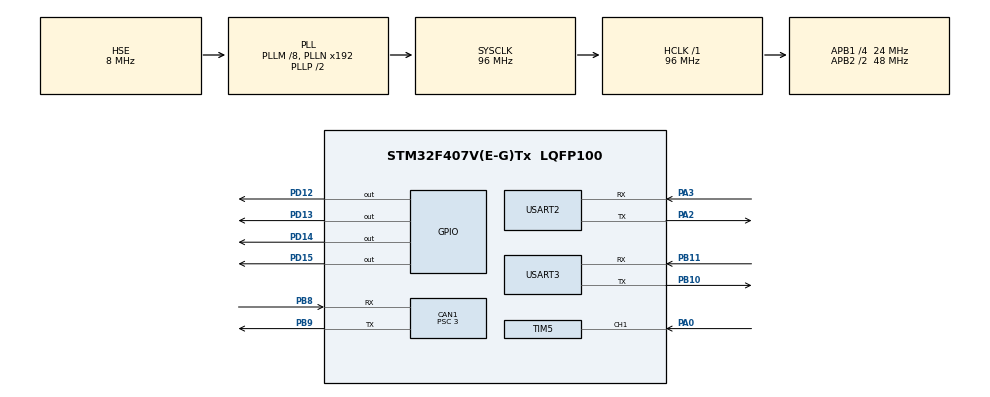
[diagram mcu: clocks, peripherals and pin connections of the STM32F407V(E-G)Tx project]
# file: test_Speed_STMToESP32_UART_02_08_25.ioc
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CAN1.BS1=CAN_BS1_13TQ
CAN1.BS2=CAN_BS2_2TQ
CAN1.CalculateBaudRate=500000
CAN1.CalculateTimeBit=2000
CAN1.CalculateTimeQuantum=125.0
CAN1.Prescaler=3
Mcu.Family=STM32F4
Mcu.Name=STM32F407V(E-G)Tx
Mcu.Package=LQFP100
NVIC.CAN1_RX0_IRQn=true\:0\:0\:false\:false\:true\:true\:true\:true
NVIC.CAN1_SCE_IRQn=true\:0\:0\:false\:false\:true\:true\:true\:true
NVIC.CAN1_TX_IRQn=true\:0\:0\:false\:false\:true\:true\:true\:true
NVIC.PriorityGroup=NVIC_PRIORITYGROUP_4
NVIC.TIM5_IRQn=true\:0\:0\:false\:false\:true\:true\:true\:true
PA0-WKUP.Signal=S_TIM5_CH1
PA2.Mode=Asynchronous
PA2.Signal=USART2_TX
PA3.Mode=Asynchronous
PA3.Signal=USART2_RX
PB10.Mode=Asynchronous
PB10.Signal=USART3_TX
PB11.Mode=Asynchronous
PB11.Signal=USART3_RX
PB8.Mode=CAN_Activate
PB8.Signal=CAN1_RX
PB9.Mode=CAN_Activate
PB9.Signal=CAN1_TX
PD12.Signal=GPIO_Output
PD13.Signal=GPIO_Output
PD14.Signal=GPIO_Output
PD15.Signal=GPIO_Output
PH0-OSC_IN.Mode=HSE-External-Oscillator
PH0-OSC_IN.Signal=RCC_OSC_IN
PH1-OSC_OUT.Mode=HSE-External-Oscillator
PH1-OSC_OUT.Signal=RCC_OSC_OUT
ProjectManager.HeapSize=0x200
ProjectManager.StackSize=0x400
ProjectManager.TargetToolchain=STM32CubeIDE
RCC.48MHZClocksFreq_Value=48000000
RCC.AHBFreq_Value=96000000
RCC.APB1CLKDivider=RCC_HCLK_DIV4
RCC.APB1Freq_Value=24000000
RCC.APB1TimFreq_Value=48000000
RCC.APB2CLKDivider=RCC_HCLK_DIV2
RCC.APB2Freq_Value=48000000
RCC.APB2TimFreq_Value=96000000
RCC.CortexFreq_Value=96000000
RCC.HCLKFreq_Value=96000000
RCC.HSE_VALUE=8000000
RCC.HSI_VALUE=16000000
RCC.LSE_VALUE=32768
RCC.PLLM=8
RCC.PLLSourceVirtual=RCC_PLLSOURCE_HSE
RCC.SYSCLKFreq_VALUE=96000000
RCC.SYSCLKSource=RCC_SYSCLKSOURCE_PLLCLK
RCC.VCOOutputFreq_Value=192000000
SH.S_TIM5_CH1.0=TIM5_CH1,Input_Capture1_from_TI1
TIM5.Channel-Input_Capture1_from_TI1=TIM_CHANNEL_1
TIM5.Period=65535
TIM5.Prescaler=9599
USART2.VirtualMode=VM_ASYNC
USART3.VirtualMode=VM_ASYNC
VP_TIM5_VS_ClockSourceINT.Mode=Internal
board=custom

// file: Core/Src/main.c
/* USER CODE BEGIN Header */
/**
  ******************************************************************************
  * @file           : main.c
  * @brief          : Main program body
  ******************************************************************************
  * @attention
  *
  * Copyright (c) 2025 STMicroelectronics.
  * All rights reserved.
  *
  * This software is licensed under terms that can be found in the LICENSE file
  * in the root directory of this software component.
  * If no LICENSE file comes with this software, it is provided AS-IS.
  *
  ******************************************************************************
  */
/* USER CODE END Header */
#include "main.h"

/* USER CODE BEGIN Includes */
#include "string.h" // For strlen
#include "stdio.h"  // For sprintf
/* USER CODE END Includes */

CAN_HandleTypeDef hcan1;

TIM_HandleTypeDef htim5; // NEW: Timer handle for the optical sensor

UART_HandleTypeDef huart2; // For PC Putty
UART_HandleTypeDef huart3; // For ESP32

/* USER CODE BEGIN PV */
// UART message for status
char *uart_startup_msg = "STM32F407: CAN Receiver & UART Bridge to ESP32 (Multi-Sensor)...\r\n";
char uart_buffer[120]; // General purpose buffer for UART prints (for Putty)
char esp32_data_buffer[150]; // Buffer for data sent to ESP32 (expanded for new data)

// CAN message variables for reception
CAN_RxHeaderTypeDef RxHeader;
uint8_t RxData[8]; // Buffer for received data

// Global flags for status/errors (optional, for main loop interaction)
volatile uint8_t can_rx_flag = 0;
volatile uint32_t can_error_flags = 0;

// Variables to store received sensor data
float received_temperature = 0.0f;
float received_humidity = 0.0f;
uint8_t received_ir_state = 0; // 0: No obstacle, 1: Obstacle
uint16_t received_sound_value = 0; // 0-1023 analog value
uint8_t received_sequence_num = 0;

// Thresholds for alerts (same as before)
#define TEMP_ALERT_THRESHOLD 30.0f
#define SOUND_ALERT_THRESHOLD 520
#define IR_OBSTACLE_DETECTED 1

// --- NEW VARIABLES FOR OPTICAL SENSOR ---
// Speed, Acceleration, RPM and Idling time
volatile float current_speed_kmh = 0.0f;
volatile float previous_speed_kmh = 0.0f;
volatile float acceleration_mps2 = 0.0f;
volatile uint32_t current_rpm = 0;
volatile uint32_t idling_timer_ms = 0;
volatile uint32_t last_pulse_time_ms = 0;
volatile uint32_t last_speed_update_time = 0;

// Constants for calculations
#define PULSES_PER_REVOLUTION 20 // Assumed pulses per revolution for the H2010 sensor
#define WHEEL_DIAMETER_CM 6.5f   // Assumed wheel diameter in cm
#define SECONDS_PER_IDLE_CHECK 10.0f // Check for idling every 10 seconds

// Input capture variables
volatile uint32_t ic_val1 = 0;
volatile uint32_t ic_val2 = 0;
volatile uint32_t difference = 0;
volatile uint8_t is_first_captured = 0;

/* USER CODE END PV */

void SystemClock_Config(void);
static void MX_GPIO_Init(void);
static void MX_CAN1_Init(void);
static void MX_TIM5_Init(void); // NEW: Timer Init
static void MX_USART2_UART_Init(void);
static void MX_USART3_UART_Init(void);

/* USER CODE BEGIN 0 */
// Function to send string over UART (for PC Putty - USART2)
void UART_Transmit_String(UART_HandleTypeDef *huart, char *str)
{
    HAL_UART_Transmit(huart, (uint8_t *)str, strlen(str), HAL_MAX_DELAY);
}

// Function to send string over UART to ESP32 (USART3)
void UART_Transmit_To_ESP32(char *str)
{
    HAL_UART_Transmit(&huart3, (uint8_t *)str, strlen(str), HAL_MAX_DELAY);
}

// Function to toggle an LED
void Toggle_LED(GPIO_TypeDef* GPIOx, uint16_t GPIO_Pin)
{
    HAL_GPIO_TogglePin(GPIOx, GPIO_Pin);
}

// Function to print raw CAN data to UART (for debugging)
void PrintRawCanData(uint8_t *data, uint8_t len)
{
    char temp_str[10];
    UART_Transmit_String(&huart2, "Raw Data: ");
    for (int i = 0; i < len; i++)
    {
        sprintf(temp_str, "0x%02X ", data[i]);
        UART_Transmit_String(&huart2, temp_str);
    }
    UART_Transmit_String(&huart2, "\r\n");
}

// --- NEW: Timer Input Capture Callback ---
/**
  * @brief  Input Capture callback.
  * @param  htim pointer to a TIM_HandleTypeDef structure.
  * @retval None
  */
void HAL_TIM_IC_CaptureCallback(TIM_HandleTypeDef *htim)
{
    if (htim->Channel == HAL_TIM_ACTIVE_CHANNEL_1)
    {
        if (is_first_captured == 0)
        {
            ic_val1 = HAL_TIM_ReadCapturedValue(htim, TIM_CHANNEL_1);
            is_first_captured = 1;
        }
        else if (is_first_captured == 1)
        {
            ic_val2 = HAL_TIM_ReadCapturedValue(htim, TIM_CHANNEL_1);

            // Calculate the time difference (in timer ticks)
            if (ic_val2 > ic_val1)
            {
                difference = ic_val2 - ic_val1;
            }
            else
            {
                difference = (0xFFFFFFFF - ic_val1) + ic_val2;
            }

            // Frequency (Hz) = Timer Clock / (Prescaler+1) / Difference
            // In our case, Timer Clock / (Prescaler+1) = 96MHz / (9599+1) = 10kHz
            // so 1 tick = 0.1ms
            float pulse_interval_ms = (float)difference / 10.0f;

            // Update RPM if the interval is not too long (i.e., not stopped)
            if (pulse_interval_ms < 500.0f) // A reasonable threshold to avoid false readings
            {
                current_rpm = (uint32_t)(60000.0f / (PULSES_PER_REVOLUTION * pulse_interval_ms));
            }
            else
            {
                current_rpm = 0;
            }

            // Calculate speed in km/h from RPM
            // Circumference (m) = pi * diameter (m)
            // Speed (m/s) = RPM * Circumference (m) / 60
            // Speed (km/h) = Speed (m/s) * 3.6
            float wheel_circumference_m = (float)3.14159f * (WHEEL_DIAMETER_CM / 100.0f);
            current_speed_kmh = ((float)current_rpm * wheel_circumference_m / 60.0f) * 3.6f;

            // Reset for next capture
            is_first_captured = 0;
            ic_val1 = 0;
            ic_val2 = 0;
        }
    }
}

// ====================================================================
// CAN Interrupt Callback Implementations
// ====================================================================

/**
  * @brief  Rx FIFO 0 Message Pending callback.
  * @param  hcan pointer to a CAN_HandleTypeDef structure that contains
  * the configuration information for the specified CAN.
  * @retval None
  */
void HAL_CAN_RxFifo0MsgPendingCallback(CAN_HandleTypeDef *hcan)
{
    if (hcan->Instance == CAN1)
    {
        if (HAL_CAN_GetRxMessage(hcan, CAN_RX_FIFO0, &RxHeader, RxData) == HAL_OK)
        {
            // Process the received message
            sprintf(uart_buffer, "CAN Rx Int! ID: 0x%lX, DLC: %lu. ", RxHeader.StdId, RxHeader.DLC);
            UART_Transmit_String(&huart2, uart_buffer);
            PrintRawCanData(RxData, RxHeader.DLC); // Print raw data for debugging to Putty

            // --- Multi-Sensor Data Parsing ---
            if (RxHeader.StdId == 0x457 && RxHeader.DLC >= 7)
            {
                // DHT11 Data
                received_temperature = (float)RxData[0] + (float)RxData[1] / 10.0f;
                received_humidity = (float)RxData[2] + (float)RxData[3] / 10.0f;

                // IR Sensor State
                received_ir_state = RxData[4]; // 0 or 1

                // Sound Sensor Value (reconstruct 10-bit analog value)
                received_sound_value = ((uint16_t)RxData[6] << 8) | RxData[5];

                // Sequence Number
                if (RxHeader.DLC >= 8) {
                    received_sequence_num = RxData[7];
                }

                // Print all received sensor data to Putty
                sprintf(uart_buffer, "DHT11: T=%.1f C, H=%.1f %%. IR: %s. Sound: %u. (Seq: %u)\r\n",
                        received_temperature, received_humidity,
                        (received_ir_state == IR_OBSTACLE_DETECTED ? "OBSTACLE" : "CLEAR"),
                        received_sound_value,
                        received_sequence_num);
                UART_Transmit_String(&huart2, uart_buffer);

                // --- ALERT CHECKS (for Putty) ---
                if (received_ir_state == IR_OBSTACLE_DETECTED) {
                    UART_Transmit_String(&huart2, "--> ALERT! Obstacle ahead. Be cautious! Potential crash detected!\r\n");
                }
                if (received_sound_value > SOUND_ALERT_THRESHOLD) {
                    UART_Transmit_String(&huart2, "--> ALERT! Crash detected!!!\r\n");
                }
                if (received_temperature > TEMP_ALERT_THRESHOLD) {
                    UART_Transmit_String(&huart2, "--> ALERT! High temperature detected! FIRE\r\n");
                }
                // --- END ALERT CHECKS ---

                // --- NEW: CALCULATE ACCELERATION/BRAKING AND IDLING ---
                // Calculate time difference since last speed update
                uint32_t current_time_ms = HAL_GetTick();
                if (current_time_ms - last_speed_update_time >= 500) // Update every 500ms
                {
                    // Calculate Acceleration
                    float time_diff_s = (float)(current_time_ms - last_speed_update_time) / 1000.0f;
                    float current_speed_mps = current_speed_kmh / 3.6f;
                    float previous_speed_mps = previous_speed_kmh / 3.6f;
                    acceleration_mps2 = (current_speed_mps - previous_speed_mps) / time_diff_s;
                    previous_speed_kmh = current_speed_kmh;
                    last_speed_update_time = current_time_ms;
                }

                // Check for idling (car is stopped)
                if (current_rpm == 0)
                {
                    idling_timer_ms += (current_time_ms - last_pulse_time_ms);
                }
                else
                {
                    idling_timer_ms = 0;
                    last_pulse_time_ms = current_time_ms;
                }

                // --- NEW: SEND ALL DATA TO ESP32 ---
                // Format: T:XX.X,H:YY.Y,IR:Z,S:AAAA,Seq:BBB,Speed:SS.S,Acc:A.A,RPM:RRRR,Idle:IIII\n
                // Corrected format specifier for RPM and Idle time (which are uint32_t / unsigned long)
                sprintf(esp32_data_buffer, "T:%.1f,H:%.1f,IR:%u,S:%u,Seq:%u,Speed:%.1f,Acc:%.1f,RPM:%lu,Idle:%lu\n",
                        received_temperature, received_humidity,
                        received_ir_state, received_sound_value,
                        received_sequence_num,
                        current_speed_kmh,
                        acceleration_mps2,
                        current_rpm,
                        idling_timer_ms / 1000); // Convert milliseconds to seconds
                UART_Transmit_To_ESP32(esp32_data_buffer); // Send to ESP32!
                UART_Transmit_String(&huart2, "(Data sent to ESP32)\r\n"); // Confirm on Putty
            }

            can_rx_flag = 1; // Signal main loop
            Toggle_LED(GPIOD, GPIO_PIN_15); // Toggle Blue LED (LD6) on reception
        }
    }
}

/**
  * @brief  Error CAN callback. (Unchanged)
  * @param  hcan pointer to a CAN_HandleTypeDef structure that contains
  * the configuration information for the specified CAN.
  * @retval None
  */
void HAL_CAN_ErrorCallback(CAN_HandleTypeDef *hcan)
{
    uint32_t error_code = HAL_CAN_GetError(hcan);
    can_error_flags = error_code;

    UART_Transmit_String(&huart2, "CAN Error! Code: 0x");
    sprintf(uart_buffer, "%lX - ", error_code);
    UART_Transmit_String(&huart2, uart_buffer);

    if (error_code & HAL_CAN_ERROR_EWG) { UART_Transmit_String(&huart2, "Error Warning! "); }
    if (error_code & HAL_CAN_ERROR_EPV) { UART_Transmit_String(&huart2, "Error Passive! "); }
    if (error_code & HAL_CAN_ERROR_BOF) {
        UART_Transmit_String(&huart2, "Bus-Off! Attempting recovery...\r\n");
        if (HAL_CAN_Stop(hcan) != HAL_OK) Error_Handler();
        if (HAL_CAN_Start(hcan) != HAL_OK) Error_Handler();
        UART_Transmit_String(&huart2, "CAN Re-initialized after Bus-Off.\r\n");
    }
    if (error_code & HAL_CAN_ERROR_STF) { UART_Transmit_String(&huart2, "Stuff Error! "); }
    if (error_code & HAL_CAN_ERROR_FOR) { UART_Transmit_String(&huart2, "Form Error! "); }
    if (error_code & HAL_CAN_ERROR_ACK) { UART_Transmit_String(&huart2, "Acknowledge Error! "); }
    if (error_code & HAL_CAN_ERROR_BR) { UART_Transmit_String(&huart2, "Bit Recessive Error! "); }
    if (error_code & HAL_CAN_ERROR_BD) { UART_Transmit_String(&huart2, "Bit Dominant Error! "); }
    if (error_code & HAL_CAN_ERROR_CRC) { UART_Transmit_String(&huart2, "CRC Error! "); }
    if (error_code & HAL_CAN_ERROR_RX_FOV0) { UART_Transmit_String(&huart2, "RX FIFO0 Overrun! "); }
    UART_Transmit_String(&huart2, "\r\n");
}
/* USER CODE END 0 */

int main(void)
{

  /* MCU Configuration--------------------------------------------------------*/

  /* Reset of all peripherals, Initializes the Flash interface and the Systick. */
  HAL_Init();

  /* Configure the system clock */
  SystemClock_Config();

  /* Initialize all configured peripherals */
  MX_GPIO_Init();
  MX_CAN1_Init();
  MX_TIM5_Init();
  MX_USART2_UART_Init();
  MX_USART3_UART_Init();
  /* USER CODE BEGIN 2 */

  // Start the CAN peripheral
      if (HAL_CAN_Start(&hcan1) != HAL_OK)
      {
          UART_Transmit_String(&huart2, "CAN Start Failed!\r\n");
          Error_Handler();
      } else {
          UART_Transmit_String(&huart2, "CAN Started in Normal Mode.\r\n");
      }

      // Activate CAN Notifications (Interrupts)
      if (HAL_CAN_ActivateNotification(&hcan1,
                                       CAN_IT_RX_FIFO0_MSG_PENDING |
                                       CAN_IT_TX_MAILBOX_EMPTY     |
                                       CAN_IT_BUSOFF               |
                                       CAN_IT_ERROR_WARNING        |
                                       CAN_IT_ERROR_PASSIVE        |
                                       CAN_IT_LAST_ERROR_CODE
                                      ) != HAL_OK)
      {
          UART_Transmit_String(&huart2, "CAN Notification Activation Failed!\r\n");
          Error_Handler();
      } else {
          UART_Transmit_String(&huart2, "CAN Notifications Activated.\r\n");
      }

      // Configure CAN Filter to accept messages from Arduino (ID 0x457 for combined sensor data)
      CAN_FilterTypeDef sFilterConfig;
      sFilterConfig.FilterBank = 0;
      sFilterConfig.FilterMode = CAN_FILTERMODE_IDMASK;
      sFilterConfig.FilterScale = CAN_FILTERSCALE_32BIT;
      sFilterConfig.FilterIdHigh = 0x457 << 5;
      sFilterConfig.FilterIdLow = 0x0000;
      sFilterConfig.FilterMaskIdHigh = 0xFFF << 5;
      sFilterConfig.FilterMaskIdLow = 0x0000;
      sFilterConfig.FilterFIFOAssignment = CAN_FILTER_FIFO0;
      sFilterConfig.FilterActivation = ENABLE;
      sFilterConfig.SlaveStartFilterBank = 14;

      if (HAL_CAN_ConfigFilter(&hcan1, &sFilterConfig) != HAL_OK)
      {
          UART_Transmit_String(&huart2, "CAN Filter Config Failed!\r\n");
          Error_Handler();
      } else {
          UART_Transmit_String(&huart2, "CAN Filter Configured to accept 0x457.\r\n");
      }

      // NEW: Start the Timer in Input Capture Mode and enable its interrupt
      if (HAL_TIM_IC_Start_IT(&htim5, TIM_CHANNEL_1) != HAL_OK)
      {
          UART_Transmit_String(&huart2, "Timer 5 Input Capture Start Failed!\r\n");
          Error_Handler();
      }
      else
      {
          UART_Transmit_String(&huart2, "Timer 5 Input Capture Started.\r\n");
      }

      UART_Transmit_String(&huart2, uart_startup_msg);

  /* USER CODE END 2 */

  /* Infinite loop */
  /* USER CODE BEGIN WHILE */
  while (1)
  {
	  Toggle_LED(GPIOD, GPIO_PIN_12); // Green LED heartbeat
	  HAL_Delay(500);
    /* USER CODE END WHILE */

  }
}

void SystemClock_Config(void)
{
  RCC_OscInitTypeDef RCC_OscInitStruct = {0};
  RCC_ClkInitTypeDef RCC_ClkInitStruct = {0};

  /** Configure the main internal regulator output voltage
  */
  __HAL_RCC_PWR_CLK_ENABLE();
  __HAL_PWR_VOLTAGESCALING_CONFIG(PWR_REGULATOR_VOLTAGE_SCALE1);

  /** Initializes the RCC Oscillators according to the specified parameters
  * in the RCC_OscInitTypeDef structure.
  */
  RCC_OscInitStruct.OscillatorType = RCC_OSCILLATORTYPE_HSE;
  RCC_OscInitStruct.HSEState = RCC_HSE_ON;
  RCC_OscInitStruct.PLL.PLLState = RCC_PLL_ON;
  RCC_OscInitStruct.PLL.PLLSource = RCC_PLLSOURCE_HSE;
  RCC_OscInitStruct.PLL.PLLM = 8;
  RCC_OscInitStruct.PLL.PLLN = 192;
  RCC_OscInitStruct.PLL.PLLP = RCC_PLLP_DIV2;
  RCC_OscInitStruct.PLL.PLLQ = 4;
  if (HAL_RCC_OscConfig(&RCC_OscInitStruct) != HAL_OK)
  {
    Error_Handler();
  }

  /** Initializes the CPU, AHB and APB buses clocks
  */
  RCC_ClkInitStruct.ClockType = RCC_CLOCKTYPE_HCLK|RCC_CLOCKTYPE_SYSCLK
                              |RCC_CLOCKTYPE_PCLK1|RCC_CLOCKTYPE_PCLK2;
  RCC_ClkInitStruct.SYSCLKSource = RCC_SYSCLKSOURCE_PLLCLK;
  RCC_ClkInitStruct.AHBCLKDivider = RCC_SYSCLK_DIV1;
  RCC_ClkInitStruct.APB1CLKDivider = RCC_HCLK_DIV4;
  RCC_ClkInitStruct.APB2CLKDivider = RCC_HCLK_DIV2;

  if (HAL_RCC_ClockConfig(&RCC_ClkInitStruct, FLASH_LATENCY_3) != HAL_OK)
  {
    Error_Handler();
  }
}

static void MX_CAN1_Init(void)
{

  hcan1.Instance = CAN1;
  hcan1.Init.Prescaler = 3;
  hcan1.Init.Mode = CAN_MODE_NORMAL;
  hcan1.Init.SyncJumpWidth = CAN_SJW_1TQ;
  hcan1.Init.TimeSeg1 = CAN_BS1_13TQ;
  hcan1.Init.TimeSeg2 = CAN_BS2_2TQ;
  hcan1.Init.TimeTriggeredMode = DISABLE;
  hcan1.Init.AutoBusOff = DISABLE;
  hcan1.Init.AutoWakeUp = DISABLE;
  hcan1.Init.AutoRetransmission = DISABLE;
  hcan1.Init.ReceiveFifoLocked = DISABLE;
  hcan1.Init.TransmitFifoPriority = DISABLE;
  if (HAL_CAN_Init(&hcan1) != HAL_OK)
  {
    Error_Handler();
  }

}

static void MX_TIM5_Init(void)
{

  TIM_ClockConfigTypeDef sClockSourceConfig = {0};
  TIM_MasterConfigTypeDef sMasterConfig = {0};
  TIM_IC_InitTypeDef sConfigIC = {0};

  htim5.Instance = TIM5;
  htim5.Init.Prescaler = 9599;
  htim5.Init.CounterMode = TIM_COUNTERMODE_UP;
  htim5.Init.Period = 65535;
  htim5.Init.ClockDivision = TIM_CLOCKDIVISION_DIV1;
  htim5.Init.AutoReloadPreload = TIM_AUTORELOAD_PRELOAD_DISABLE;
  if (HAL_TIM_Base_Init(&htim5) != HAL_OK)
  {
    Error_Handler();
  }
  sClockSourceConfig.ClockSource = TIM_CLOCKSOURCE_INTERNAL;
  if (HAL_TIM_ConfigClockSource(&htim5, &sClockSourceConfig) != HAL_OK)
  {
    Error_Handler();
  }
  if (HAL_TIM_IC_Init(&htim5) != HAL_OK)
  {
    Error_Handler();
  }
  sMasterConfig.MasterOutputTrigger = TIM_TRGO_RESET;
  sMasterConfig.MasterSlaveMode = TIM_MASTERSLAVEMODE_DISABLE;
  if (HAL_TIMEx_MasterConfigSynchronization(&htim5, &sMasterConfig) != HAL_OK)
  {
    Error_Handler();
  }
  sConfigIC.ICPolarity = TIM_INPUTCHANNELPOLARITY_RISING;
  sConfigIC.ICSelection = TIM_ICSELECTION_DIRECTTI;
  sConfigIC.ICPrescaler = TIM_ICPSC_DIV1;
  sConfigIC.ICFilter = 0;
  if (HAL_TIM_IC_ConfigChannel(&htim5, &sConfigIC, TIM_CHANNEL_1) != HAL_OK)
  {
    Error_Handler();
  }

}

static void MX_USART2_UART_Init(void)
{

  huart2.Instance = USART2;
  huart2.Init.BaudRate = 115200;
  huart2.Init.WordLength = UART_WORDLENGTH_8B;
  huart2.Init.StopBits = UART_STOPBITS_1;
  huart2.Init.Parity = UART_PARITY_NONE;
  huart2.Init.Mode = UART_MODE_TX_RX;
  huart2.Init.HwFlowCtl = UART_HWCONTROL_NONE;
  huart2.Init.OverSampling = UART_OVERSAMPLING_16;
  if (HAL_UART_Init(&huart2) != HAL_OK)
  {
    Error_Handler();
  }

}

static void MX_USART3_UART_Init(void)
{

  huart3.Instance = USART3;
  huart3.Init.BaudRate = 115200;
  huart3.Init.WordLength = UART_WORDLENGTH_8B;
  huart3.Init.StopBits = UART_STOPBITS_1;
  huart3.Init.Parity = UART_PARITY_NONE;
  huart3.Init.Mode = UART_MODE_TX_RX;
  huart3.Init.HwFlowCtl = UART_HWCONTROL_NONE;
  huart3.Init.OverSampling = UART_OVERSAMPLING_16;
  if (HAL_UART_Init(&huart3) != HAL_OK)
  {
    Error_Handler();
  }

}

static void MX_GPIO_Init(void)
{
  GPIO_InitTypeDef GPIO_InitStruct = {0};

  /* GPIO Ports Clock Enable */
  __HAL_RCC_GPIOH_CLK_ENABLE();
  __HAL_RCC_GPIOA_CLK_ENABLE();
  __HAL_RCC_GPIOB_CLK_ENABLE();
  __HAL_RCC_GPIOD_CLK_ENABLE();

  /*Configure GPIO pin Output Level */
  HAL_GPIO_WritePin(GPIOD, GPIO_PIN_12|GPIO_PIN_13|GPIO_PIN_14|GPIO_PIN_15, GPIO_PIN_RESET);

  /*Configure GPIO pins : PD12 PD13 PD14 PD15 */
  GPIO_InitStruct.Pin = GPIO_PIN_12|GPIO_PIN_13|GPIO_PIN_14|GPIO_PIN_15;
  GPIO_InitStruct.Mode = GPIO_MODE_OUTPUT_PP;
  GPIO_InitStruct.Pull = GPIO_NOPULL;
  GPIO_InitStruct.Speed = GPIO_SPEED_FREQ_LOW;
  HAL_GPIO_Init(GPIOD, &GPIO_InitStruct);

}

void Error_Handler(void)
{
  __disable_irq();
  while (1)
  {
  }
}
